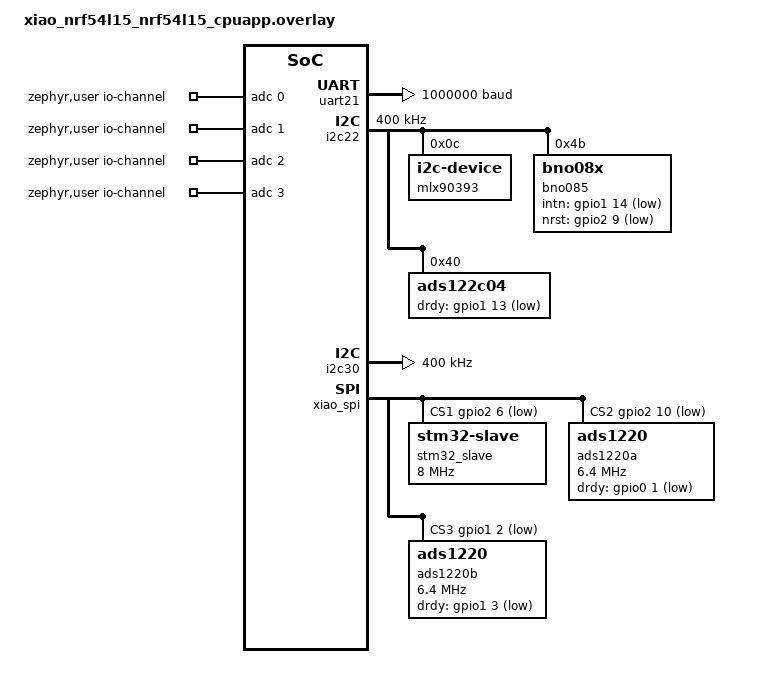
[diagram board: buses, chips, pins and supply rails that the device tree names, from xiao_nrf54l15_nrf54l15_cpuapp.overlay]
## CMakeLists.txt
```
#
# Copyright (c) 2018 Nordic Semiconductor
#
# SPDX-License-Identifier: LicenseRef-Nordic-5-Clause
#
cmake_minimum_required(VERSION 3.20.0)

find_package(Zephyr REQUIRED HINTS $ENV{ZEPHYR_BASE})
project(esb_ptx)

FILE(GLOB app_sources src/*.c*)
# NORDIC SDK APP START
target_sources(app PRIVATE ${app_sources})
include_directories(inc)  
# NORDIC SDK APP END
```

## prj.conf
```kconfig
#
# Copyright (c) 2019 Nordic Semiconductor ASA
#
# SPDX-License-Identifier: LicenseRef-Nordic-5-Clause
#

#------ logging AND console ----
CONFIG_LOG=n
CONFIG_LOG_BACKEND_UART=n
CONFIG_LOG_BACKEND_RTT=y

CONFIG_CONSOLE=n
CONFIG_USE_SEGGER_RTT=y
CONFIG_RTT_CONSOLE=y
CONFIG_UART_CONSOLE=n
CONFIG_PRINTK=n 

#------ DEBUG ----
# CONFIG_STACK_SENTINEL=y
# CONFIG_THREAD_STACK_INFO=y
# CONFIG_INIT_STACKS=y
# CONFIG_ASSERT=y

#------ OPTIMIZATIONS -----
CONFIG_DEBUG_OPTIMIZATIONS=y

#------ CPP -----
CONFIG_CPP=y

#------ FPU -----
CONFIG_FPU=y
CONFIG_NEWLIB_LIBC=y

#------ HEAP -----
CONFIG_HEAP_MEM_POOL_SIZE=8192

#------ GPIO -----
CONFIG_GPIO=y

#------ UART -----
CONFIG_SERIAL=y
CONFIG_UART_ASYNC_API=y
CONFIG_UART_NRFX_UARTE_ENHANCED_RX=y
CONFIG_NRF_SYS_EVENT=y

#------SPI -----
CONFIG_SPI=y
CONFIG_SPI_ASYNC=y

#------ sensors ----
CONFIG_ADC=y
CONFIG_I2C=y
CONFIG_SENSOR=y

#------ ESB -----
CONFIG_ESB=y
CONFIG_ESB_MAX_PAYLOAD_LENGTH=252
CONFIG_CLOCK_CONTROL=y
CONFIG_NRFX_DPPI10=y

#------ BLE -----
# CONFIG_BT=y
# CONFIG_BT_PERIPHERAL=y
# CONFIG_BT_DEVICE_NAME="Nordic_UART_Service"
# CONFIG_BT_MAX_CONN=1
# CONFIG_BT_MAX_PAIRED=1
# CONFIG_BT_NUS=y
# CONFIG_BT_BUF_ACL_RX_SIZE=251
# CONFIG_BT_BUF_ACL_TX_SIZE=251
# CONFIG_BT_L2CAP_TX_MTU=247
```

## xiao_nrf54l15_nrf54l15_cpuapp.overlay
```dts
/**
 * =================================================================================
 * PINS                  MY BOARD                      XIAO NRF54L15 SENSE
 * =================================================================================
 * P0.00:                free                          USR_KEY
 * P0.01:                ads1220a/pcap01 drdy          IMU_3V3_EN
 * P0.02:                icm42688 drdy                 IMU_INT
 * P0.03:                                i2c30 SDL
 * P0.04:                                i2c30 SDA
 * =================================================================================
 * P1.00 & P1.01:                        32.768KHZ crystal
 * P1.02:                ads1220b cs                   NFC
 * P1.03:                ads1220b drdy                 NFC
 * P1.04 - P1.07:                        CH0/AIN0 - CH3/AIN3
 * P1.08:                free                          UART20
 * P1.09:                free                          UART20
 * P1.10:                                i2c22 SDA
 * P1.11:                                i2c22 SDL
 * P1.12:                icm42688 spi cs               mic clk
 * P1.13:                ads122c04 inin                mic data
 * P1.14:                bno085 intn                   AIN7_BAT
 * P1.15:                free                          VBAT_EN
 * =================================================================================
 * P2.00:                                 USR_LED
 * P2.01:                                 spi00 sck
 * P2.02:                                 spi00 mosi
 * P2.03:                free                          rf_sw_pwr
 * P2.04:                                 spi00 miso
 * P2.05:                free                          rf_sw_ctl
 * P2.06:                stm32_slave spi cs            free (D15)
 * P2.07:                                 UART21
 * P2.08:                                 UART21
 * P2.09:                bno085 nrst                   free (D13)
 * P2.10:                ads1220a/pcap01 spi cs        free (D13)
 * =================================================================================
 */

/ {
    zephyr,user {
        io-channels = <&adc 0>, <&adc 1>, <&adc 2>, <&adc 3>;
    };
};

&uart20 {
    current-speed = <1000000>;
};

&uart21 {
    current-speed = <1000000>;
};

/* 禁用板载 PDM 麦克风，释放 P1.12 */
&pdm20 {
    status = "disabled";
};
/* 释放 P1.15 */
&vbat_pwr {
    status = "disabled";
};
/* 释放 P0.01 */
&pdm_imu_pwr {
    status = "disabled";
};
/* 释放 P1.02, P1.03 */
&nfct {
    status = "disabled";
};
&uicr {
    nfct-pins-as-gpios;
};
/* 释放 P0.00 */
&usr_btn {
    status = "disabled";
};
/* 释放P1.08, P1.09 */
/ {
    chosen {
        /delete-property/ zephyr,console;
        /delete-property/ zephyr,shell-uart;
        /delete-property/ nordic,rpc-uart;
    };
};
&uart20 {
    status = "disabled";
};

&i2c22 {
    status = "okay";
    clock-frequency = <I2C_BITRATE_FAST>;
    mlx90393: mlx90393@c {
        compatible = "i2c-device";
        reg = <0x0c>;
    };
    bno085: bno085@4b {
        compatible = "bno08x";
        reg = <0x4b>;
        intn-gpios = <&gpio1 14 (GPIO_ACTIVE_LOW)>;
        nrst-gpios = <&gpio2 9 (GPIO_ACTIVE_LOW | GPIO_PULL_UP)>;
    };
    ads122c04: ads122c04@40 {
        compatible = "ads122c04";
        reg = <0x40>;
        drdy-gpios = <&gpio1 13 (GPIO_ACTIVE_LOW | GPIO_PULL_UP)>;
    };
};

&i2c30 {
	status = "okay";
    clock-frequency = <I2C_BITRATE_FAST>;
    lsm6dso: lsm6dso@6a {
        status = "disabled";
    };
};
&i2c30_default {
    group1 {
        psels = <NRF_PSEL(TWIM_SDA, 0, 4)>, <NRF_PSEL(TWIM_SCL, 0, 3)>;
    };
};

&xiao_spi {
	status = "okay";
    compatible = "nordic,nrf-spim";
    cs-gpios = <&gpio1 12 GPIO_ACTIVE_LOW>, <&gpio2 6 GPIO_ACTIVE_LOW>, <&gpio2 10 GPIO_ACTIVE_LOW>, <&gpio1 2 GPIO_ACTIVE_LOW>;
    icm42688: icm42688@0 {
        status = "disabled";
        compatible = "invensense,icm42688";
        reg = <0>;
        spi-max-frequency = <16000000>;
        int-gpios = <&gpio0 2 GPIO_ACTIVE_LOW>;
    };
    stm32_slave: stm32_slave@1 {
        status = "okay";
        compatible = "stm32-slave";
        reg = <1>;
        spi-max-frequency = <8000000>;
    };
    ads1220a: ads1220a@2 {
        status = "okay";
        compatible = "ads1220";
        reg = <2>;
        spi-max-frequency = <6400000>;
        drdy-gpios = <&gpio0 1 GPIO_ACTIVE_LOW>;
    };
    ads1220b: ads1220b@3 {
        status = "okay";
        compatible = "ads1220";
        reg = <3>;
        spi-max-frequency = <6400000>;
        drdy-gpios = <&gpio1 3 GPIO_ACTIVE_LOW>;
    };
};
```

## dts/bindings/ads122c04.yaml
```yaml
description: ADS122C04 Sensor Binding

compatible: "ads122c04"  # 注意这里，要和 overlay 里的一致

include: i2c-device.yaml  # 继承通用 I2C 属性

properties:
  drdy-gpios:
    type: phandle-array
    required: true
    description: Data ready pin
```

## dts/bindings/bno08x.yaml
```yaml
description: BNO08x Sensor Binding

compatible: "bno08x"  # 注意这里，要和 overlay 里的一致

include: i2c-device.yaml  # 继承通用 I2C 属性

properties:
  intn-gpios:
    type: phandle-array
    required: true
    description: Interrupt pin

  nrst-gpios:
    type: phandle-array
    required: false
    description: Reset pin
```

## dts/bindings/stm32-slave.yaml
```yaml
# Copyright (c) 2020 Nordic Semiconductor ASA
# SPDX-License-Identifier: Apache-2.0

description: STM32H7 SPI Receiver for Exoskeleton

compatible: "stm32-slave"

include: spi-device.yaml
```

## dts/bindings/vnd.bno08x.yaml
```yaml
description: BNO08x Sensor Binding

compatible: "vnd,bno08x"  # 注意这里，要和 overlay 里的一致

include: i2c-device.yaml  # 继承通用 I2C 属性

properties:
  irq-gpios:
    type: phandle-array
    required: true
    description: Interrupt pin

  reset-gpios:
    type: phandle-array
    required: false
    description: Reset pin
```

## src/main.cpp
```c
/*
 * Copyright (c) 2018 Nordic Semiconductor ASA
 *
 * SPDX-License-Identifier: LicenseRef-Nordic-5-Clause
 */

#include "main.h"
#include "bsp_adc.h"
#include "bsp_esb.h"
#include "bsp_ble.h"
#include "vofa.hpp"
#include "bsp_led.h"
#include "bsp_mlx90393.hpp"
#include "bsp_ads1220.hpp"
#include "SparkFun_BNO08x_Library.hpp"
#include "SparkFun_ADS122C04_Library.hpp" 
#include "app_uart.h"
#include <zephyr/logging/log.h>

LOG_MODULE_REGISTER(main, LOG_LEVEL_INF);

struct foot_sensor_packet_t foot_sensor_data =
{
    .mV_heel = 0,
    .mV_toe = 0,
    .force = 0,
    .quatI = 0,
    .quatJ = 0,
    .quatK = 0,
    .quatReal = 0,
};  /** for LEFT_FOOT_NODE and RIGHT_FOOT_NODE */

struct exo_sensor_packet_t exo_sensor_data =
{
    .left_foot = {
        .mV_heel = 0,
        .mV_toe = 0,
        .force = 0,
        .quatI = 0,
        .quatJ = 0,
        .quatK = 0,
        .quatReal = 0,
    },
    .right_foot = {
        .mV_heel = 0,
        .mV_toe = 0,
        .force = 0,
        .quatI = 0,
        .quatJ = 0,
        .quatK = 0,
        .quatReal = 0,
    },
};  /** for STM32H7_NODE */

#if (THIS_NODE_ID == LEFT_FOOT_NODE_ID) || (THIS_NODE_ID == RIGHT_FOOT_NODE_ID)
/** mlx90393 */
const struct i2c_dt_spec mlx90393_i2c = I2C_DT_SPEC_GET(DT_NODELABEL(mlx90393));
Mlx90393 mlx90393;

/** bno085 */
const struct i2c_dt_spec bno085_i2c = I2C_DT_SPEC_GET(DT_NODELABEL(bno085));
const struct gpio_dt_spec bno085_intn = GPIO_DT_SPEC_GET(DT_NODELABEL(bno085), intn_gpios);
const struct gpio_dt_spec bno085_nrst = GPIO_DT_SPEC_GET(DT_NODELABEL(bno085), nrst_gpios);
BNO08x bno085;

/** ads122c04 */
const struct i2c_dt_spec ads122c04_i2c = I2C_DT_SPEC_GET(DT_NODELABEL(ads122c04));
const struct gpio_dt_spec ads122c04_drdy = GPIO_DT_SPEC_GET(DT_NODELABEL(ads122c04), drdy_gpios);
SFE_ADS122C04 ads122c04;

#endif

#if (THIS_NODE_ID == STM32H7_NODE_ID)

static const struct spi_dt_spec stm32_slave_spec = SPI_DT_SPEC_GET(
    DT_NODELABEL(stm32_slave),  
    SPI_WORD_SET(8) | SPI_TRANSFER_MSB, 
    0
);

exo_sensor_packet_t exo_sensor_data_snapshot;
struct spi_buf tx_spi_buf = {.buf = &exo_sensor_data_snapshot, .len = sizeof(exo_sensor_packet_t)};
struct spi_buf_set tx_set = {.buffers = &tx_spi_buf, .count = 1};

int32_t left_uV_0_1 = 0;
int32_t left_uV_2_3 = 0;
int32_t right_uV_0_1 = 0;
int32_t right_uV_2_3 = 0;

#endif

/** Timer  */
static K_SEM_DEFINE(k_timer_sem, 0, 1);
static struct k_timer k_timer;
static void k_timer_expiry(struct k_timer *timer)
{
    ARG_UNUSED(timer);
    k_sem_give(&k_timer_sem);
}

/** app NRF54L15*/
int main(void)
{
	int err = 0;

    bsp_led_init();

#if (THIS_NODE_ID == BRIDGE_NODE_ID) || (THIS_NODE_ID == STM32H7_NODE_ID)
    err = app_uart_init();
    if (err)
    {
        LOG_ERR("app_uart_init() failed, err %d", err);
        return 0;
    }
#endif

#if (THIS_NODE_ID == BRIDGE_NODE_ID)
    err = bsp_ble_init();
    if (err)
    {
        LOG_ERR("bsp_ble_init() failed, err %d", err);
        return 0;
    }
#endif

#if (THIS_NODE_ID == LEFT_FOOT_NODE_ID) || (THIS_NODE_ID == RIGHT_FOOT_NODE_ID) || (THIS_NODE_ID == STM32H7_NODE_ID)
    err = clocks_start();
    if (err)
    {
        LOG_ERR("clocks_start() failed, err %d", err);
        return 0;
    }
    err = esb_initialize();
    if (err)
    {
        LOG_ERR("esb_initialize() failed, err %d", err);
        return 0;
    }
#endif

#if THIS_NODE_ID == STM32H7_NODE_ID
    err = esb_start_rx();
    if (err)
    {
        LOG_ERR("esb_start_rx() failed, err %d", err);
        return 0;
    }
#endif

#if (THIS_NODE_ID == LEFT_FOOT_NODE_ID) || (THIS_NODE_ID == RIGHT_FOOT_NODE_ID)
    // if (!mlx90393.begin(&mlx90393_i2c))
    // {
    //     LOG_ERR("mlx90393 begin failed!");
    //     return 0;
    // }

    bsp_adc_init();

#endif

	/* Initialize and start the ADC timer */
	k_timer_init(&k_timer, k_timer_expiry, NULL);
	k_timer_start(&k_timer, K_USEC(SAMPLE_PERIOD_US), K_USEC(SAMPLE_PERIOD_US));  //5ms定时

    while (1)
    {
        k_sem_take(&k_timer_sem, K_FOREVER);

#if (THIS_NODE_ID == LEFT_FOOT_NODE_ID) || (THIS_NODE_ID == RIGHT_FOOT_NODE_ID)
        // mlx90393.readMeasurement(&x, &y, &z);

        bsp_adc_read_channels();  /* 166 us */
        LOG_INF("mV_heel (mV): %d, mV_toe (mV): %d", foot_sensor_data.mV_heel, foot_sensor_data.mV_toe);

        tx_payload.data[0] = THIS_NODE_ID;

        uint32_t key = irq_lock();
        memcpy(tx_payload.data + 1, &foot_sensor_data, sizeof(foot_sensor_data));
        irq_unlock(key);

        tx_payload.length = 1 + sizeof(foot_sensor_data);
        tx_payload.noack = false;
        if (ready)
        {
            ready = false;

            esb_flush_tx();
            err = esb_write_payload(&tx_payload);
            if (err)
            {
                LOG_ERR("Payload write failed, err %d", err);
            }
        }
        else
        {
            LOG_ERR("Payload not ready");
        }

#elif (THIS_NODE_ID == STM32H7_NODE_ID)
        // app_uart_tx(reinterpret_cast<const uint8_t*>(&exo_sensor_data), sizeof(exo_sensor_data));
        /** 或者 */
        // spi_write_dt(&stm32_slave_spec, &tx_set);  //已在force_meas_thread中发送数据了，这里就不重复发送了
#endif

    } // while (1)

    return 0;
}

#if (THIS_NODE_ID == LEFT_FOOT_NODE_ID) || (THIS_NODE_ID == RIGHT_FOOT_NODE_ID)

#define BNO_THREAD_STACKSIZE 2048
#define BNO_THREAD_PRIORITY  5
#define ADS_THREAD_STACKSIZE 1024
#define ADS_THREAD_PRIORITY  6

#define BNO_REPORT_INTERVAL_MS 5

void bno085_thread(void *p1, void *p2, void *p3)
{
    LOG_INF("Initializing BNO085...");
    if (!bno085.begin(&bno085_i2c, &bno085_intn, &bno085_nrst))
    {
        LOG_ERR("bno085 begin failed!");
        return;
    }
    if (!bno085.enableRotationVector(BNO_REPORT_INTERVAL_MS))
    {
        LOG_ERR("bno085 rotation vector enable failed!");
        // return;
    }
    while (1)
    {
        if (bno085.wasReset())
        {
            LOG_INF("bno085 was reset"); 
            if (!bno085.enableRotationVector(BNO_REPORT_INTERVAL_MS))
            {
                LOG_ERR("bno085 rotation vector enable failed!");
            }
        }
        if (bno085.getSensorEvent())
        {
            if (bno085.getSensorEventID() == SENSOR_REPORTID_ROTATION_VECTOR)
            {
                foot_sensor_data.quatI = bno085.getQuatI();
                foot_sensor_data.quatJ = bno085.getQuatJ();
                foot_sensor_data.quatK = bno085.getQuatK();
                foot_sensor_data.quatReal = bno085.getQuatReal();
                // float quatRadianAccuracy = bno085.getQuatRadianAccuracy();
                LOG_INF("quatI: %f, quatJ: %f, quatK: %f, quatReal: %f", foot_sensor_data.quatI, foot_sensor_data.quatJ, foot_sensor_data.quatK, foot_sensor_data.quatReal);
            }
        }
    }
}
K_THREAD_DEFINE(bno_thread_id, BNO_THREAD_STACKSIZE, bno085_thread, NULL, NULL, NULL, BNO_THREAD_PRIORITY, 0, 0);

void ads122c04_thread(void *p1, void *p2, void *p3)
{
    LOG_INF("Initializing ADS122C04...");
    if (!ads122c04.begin(&ads122c04_i2c, &ads122c04_drdy))
    {
        LOG_ERR("ads122c04 begin failed!");
        return;
    }
    if (!ads122c04.configureADCmode(ADS122C04_BRIDGE_MODE, ADS122C04_DATA_RATE_175SPS))
    {
        LOG_ERR("ads122c04 configureADCmode failed!");
        return;
    }
    ads122c04.setConversionMode(ADS122C04_CONVERSION_MODE_CONTINUOUS);
    ads122c04.start();

    LOG_INF("ads122c04 Started in Continuous Mode.");

    while (1)
    {
        foot_sensor_data.force = ads122c04.readBridgeMilliVolts();
        LOG_INF("Bridge volt (uV): %f", foot_sensor_data.force * 1000.0f);
    }
}
K_THREAD_DEFINE(ads_thread_id, ADS_THREAD_STACKSIZE, ads122c04_thread, NULL, NULL, NULL, ADS_THREAD_PRIORITY, 0, 0);

#endif

#if (THIS_NODE_ID == STM32H7_NODE_ID)

#define FORCE_MEAS_THREAD_STACKSIZE 1024
#define FORCE_MEAS_THREAD_PRIORITY  0

static const struct spi_dt_spec ads1220a_spec = SPI_DT_SPEC_GET(
    DT_NODELABEL(ads1220a), 
    SPI_OP_MODE_MASTER | SPI_WORD_SET(8) | SPI_LINES_SINGLE | SPI_MODE_CPHA,
    0
);
const struct gpio_dt_spec ads1220a_drdy_spec = GPIO_DT_SPEC_GET(DT_NODELABEL(ads1220a), drdy_gpios);
ADS1220 ads1220a;

static const struct spi_dt_spec ads1220b_spec = SPI_DT_SPEC_GET(
    DT_NODELABEL(ads1220b), 
    SPI_OP_MODE_MASTER | SPI_WORD_SET(8) | SPI_LINES_SINGLE | SPI_MODE_CPHA,
    0
);
const struct gpio_dt_spec ads1220b_drdy_spec = GPIO_DT_SPEC_GET(DT_NODELABEL(ads1220b), drdy_gpios);
ADS1220 ads1220b;


void force_meas_thread(void *p1, void *p2, void *p3)
{
    bool is_ok_a = ads1220a.begin(&ads1220a_spec, &ads1220a_drdy_spec);
    bool is_ok_b = ads1220b.begin(&ads1220b_spec, &ads1220b_drdy_spec);
    bool current_is_0_1 = true;
    if (is_ok_a && is_ok_b)
    {
        ads1220a.disableDrdyInterrupt();
        ads1220a.setCompareChannels(ADS1220_MUX_0_1);
        ads1220b.setCompareChannels(ADS1220_MUX_0_1);
        k_sem_reset(&ads1220b.data_ready_sem_);
        ads1220a.start();
        ads1220b.start();
        current_is_0_1 = true;
    }
    else
    {
        LOG_ERR("ads1220 begin failed: is_ok_a = %d, is_ok_b = %d", is_ok_a, is_ok_b);
        return;
    }

    int32_t a_raw_data = 0;
    int32_t b_raw_data = 0;
    while (1)
    {
        k_sem_take(&ads1220b.data_ready_sem_, K_FOREVER);

        b_raw_data = ads1220b.getRawData();
        a_raw_data = ads1220a.getRawData();
        if (current_is_0_1)
        {
            left_uV_0_1 = a_raw_data;
            right_uV_0_1 = b_raw_data;
            ads1220a.setCompareChannels(ADS1220_MUX_2_3);
            ads1220b.setCompareChannels(ADS1220_MUX_2_3);
        }
        else
        {
            left_uV_2_3 = a_raw_data;
            right_uV_2_3 = b_raw_data;
            ads1220a.setCompareChannels(ADS1220_MUX_0_1);
            ads1220b.setCompareChannels(ADS1220_MUX_0_1);
            LOG_ERR("left_uV_0_1: %d, left_uV_2_3: %d, right_uV_0_1: %d, right_uV_2_3: %d", left_uV_0_1, left_uV_2_3, right_uV_0_1, right_uV_2_3);
        }

        ads1220a.start();
        ads1220b.start();
        k_sem_reset(&ads1220b.data_ready_sem_);

        if (!current_is_0_1)
        {
            uint32_t key = irq_lock();
            memcpy(&exo_sensor_data_snapshot, &exo_sensor_data, sizeof(exo_sensor_packet_t));
            irq_unlock(key);

            spi_write_dt(&stm32_slave_spec, &tx_set);
        }
        current_is_0_1 = !current_is_0_1;
    }
}

K_THREAD_DEFINE(force_meas_thread_id, FORCE_MEAS_THREAD_STACKSIZE, force_meas_thread, NULL, NULL, NULL, FORCE_MEAS_THREAD_PRIORITY, 0, 0);

#endif
```

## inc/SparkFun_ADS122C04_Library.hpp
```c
/*
  This is a library written for the TI ADS122C04
  24-Bit 4-Channel 2-kSPS Delta-Sigma ADC With I2C Interface

  It allows you to measure temperature very accurately using a
  Platinum Resistance Thermometer

  SparkFun sells these at its website: www.sparkfun.com
  Do you like this library? Help support SparkFun. Buy a board!

  Written by: Paul Clark (PaulZC)
  Date: May 4th 2020

  Based on the TI datasheet:
  https://www.ti.com/product/ADS122C04
  https://www.ti.com/lit/ds/symlink/ads122c04.pdf
  Using the example code from the "High Precision Temperature Measurement
  for Heat and Cold Meters Reference Design" (TIDA-01526) for reference:
  http://www.ti.com/tool/TIDA-01526
  http://www.ti.com/lit/zip/tidcee5

  The MIT License (MIT)
  Copyright (c) 2020 SparkFun Electronics
  Permission is hereby granted, free of charge, to any person obtaining a copy of this software and
  associated documentation files (the "Software"), to deal in the Software without restriction,
  including without limitation the rights to use, copy, modify, merge, publish, distribute, sublicense,
  and/or sell copies of the Software, and to permit persons to whom the Software is furnished to
  do so, subject to the following conditions:

  The above copyright notice and this permission notice shall be included in all copies or substantial
  portions of the Software.

  THE SOFTWARE IS PROVIDED "AS IS", WITHOUT WARRANTY OF ANY KIND, EXPRESS OR IMPLIED, INCLUDING BUT
  NOT LIMITED TO THE WARRANTIES OF MERCHANTABILITY, FITNESS FOR A PARTICULAR PURPOSE AND NONINFRINGEMENT.
  IN NO EVENT SHALL THE AUTHORS OR COPYRIGHT HOLDERS BE LIABLE FOR ANY CLAIM, DAMAGES OR OTHER LIABILITY,
  WHETHER IN AN ACTION OF CONTRACT, TORT OR OTHERWISE, ARISING FROM, OUT OF OR IN CONNECTION WITH THE
  SOFTWARE OR THE USE OR OTHER DEALINGS IN THE SOFTWARE.
*/

#ifndef SPARKFUN_ADS122C04_LIBRARY_HPP
#define SPARKFUN_ADS122C04_LIBRARY_HPP

#include <zephyr/kernel.h>
#include <zephyr/drivers/i2c.h>
#include <zephyr/drivers/gpio.h>

// Single Conversion Timeout (millis)
// The maximum time we will wait for DRDY to go valid for a single conversion
#define ADS122C04_CONVERSION_TIMEOUT 75

// Define 2/3/4-Wire, Temperature and Raw modes
#define ADS122C04_4WIRE_MODE 0x0
#define ADS122C04_3WIRE_MODE 0x1
#define ADS122C04_2WIRE_MODE 0x2
#define ADS122C04_TEMPERATURE_MODE 0x3
#define ADS122C04_RAW_MODE 0x4
#define ADS122C04_4WIRE_HI_TEMP 0x5
#define ADS122C04_3WIRE_HI_TEMP 0x6
#define ADS122C04_2WIRE_HI_TEMP 0x7
#define ADS122C04_BRIDGE_MODE 0x8   // added by zzz

// ADS122C04 Table 16 in Datasheet
#define ADS122C04_RESET_CMD 0x06     // 0000 011x      Reset
#define ADS122C04_START_CMD 0x08     // 0000 100x      Start/Sync
#define ADS122C04_POWERDOWN_CMD 0x02 // 0000 001x      PowerDown
#define ADS122C04_RDATA_CMD 0x10     // 0001 xxxx      RDATA
#define ADS122C04_RREG_CMD 0x20      // 0010 rrxx      Read REG rr= register address 00 to 11
#define ADS122C04_WREG_CMD 0x40      // 0100 rrxx      Write REG rr= register address 00 to 11

#define ADS122C04_WRITE_CMD(reg) (ADS122C04_WREG_CMD | (reg << 2)) // Shift is 2-bit in ADS122C04
#define ADS122C04_READ_CMD(reg) (ADS122C04_RREG_CMD | (reg << 2))  // Shift is 2-bit in ADS122C04

// ADS122C04 Table 16 in Datasheet
#define ADS122C04_CONFIG_0_REG 0 // Configuration Register 0
#define ADS122C04_CONFIG_1_REG 1 // Configuration Register 1
#define ADS122C04_CONFIG_2_REG 2 // Configuration Register 2
#define ADS122C04_CONFIG_3_REG 3 // Configuration Register 3

// Unshifted register definitions
// The bit field register definitions will do the bit shifting

// Configuration Register 0
// ADS122C04 Table 19 in Datasheet

// Input Multiplexer Configuration
#define ADS122C04_MUX_AIN0_AIN1 0x0
#define ADS122C04_MUX_AIN0_AIN2 0x1
#define ADS122C04_MUX_AIN0_AIN3 0x2
#define ADS122C04_MUX_AIN1_AIN0 0x3
#define ADS122C04_MUX_AIN1_AIN2 0x4
#define ADS122C04_MUX_AIN1_AIN3 0x5
#define ADS122C04_MUX_AIN2_AIN3 0x6
#define ADS122C04_MUX_AIN3_AIN2 0x7
#define ADS122C04_MUX_AIN0_AVSS 0x8
#define ADS122C04_MUX_AIN1_AVSS 0x9
#define ADS122C04_MUX_AIN2_AVSS 0xa
#define ADS122C04_MUX_AIN3_AVSS 0xb
#define ADS122C04_MUX_REFPmREFN 0xc
#define ADS122C04_MUX_AVDDmAVSS 0xd
#define ADS122C04_MUX_SHORTED 0xe

// Gain Configuration
#define ADS122C04_GAIN_1 0x0
#define ADS122C04_GAIN_2 0x1
#define ADS122C04_GAIN_4 0x2
#define ADS122C04_GAIN_8 0x3
#define ADS122C04_GAIN_16 0x4
#define ADS122C04_GAIN_32 0x5
#define ADS122C04_GAIN_64 0x6
#define ADS122C04_GAIN_128 0x7

// PGA Bypass (PGA is disabled when the PGA_BYPASS bit is set)
#define ADS122C04_PGA_DISABLED 0x1
#define ADS122C04_PGA_ENABLED 0x0

// Configuration Register 1
// ADS122C04 Table 19 in Datasheet

// Data Rate
// Turbo mode = Normal mode * 2 (Samples per Second)
// Normal mode
#define ADS122C04_DATA_RATE_20SPS 0x0
#define ADS122C04_DATA_RATE_45SPS 0x1
#define ADS122C04_DATA_RATE_90SPS 0x2
#define ADS122C04_DATA_RATE_175SPS 0x3
#define ADS122C04_DATA_RATE_330SPS 0x4
#define ADS122C04_DATA_RATE_600SPS 0x5
#define ADS122C04_DATA_RATE_1000SPS 0x6

// Operating Mode
#define ADS122C04_OP_MODE_NORMAL 0x0
#define ADS122C04_OP_MODE_TURBO 0x1

// Conversion Mode
#define ADS122C04_CONVERSION_MODE_SINGLE_SHOT 0x0
#define ADS122C04_CONVERSION_MODE_CONTINUOUS 0x1

// Voltage Reference Selection
#define ADS122C04_VREF_INTERNAL 0x0     // 2.048V internal
#define ADS122C04_VREF_EXT_REF_PINS 0x1 // REFp and REFn external
#define ADS122C04_VREF_AVDD 0x2         // Analog Supply AVDD and AVSS

// Temperature Sensor Mode
#define ADS122C04_TEMP_SENSOR_OFF 0x0
#define ADS122C04_TEMP_SENSOR_ON 0x1

// Configuration Register 2
// ADS122C04 Table 22 in Datasheet

// Conversion Result Ready Flag (READ ONLY)

// Data Counter Enable
#define ADS122C04_DCNT_DISABLE 0x0
#define ADS122C04_DCNT_ENABLE 0x1

// Data Integrity Check Enable
#define ADS122C04_CRC_DISABLED 0x0
#define ADS122C04_CRC_INVERTED 0x1
#define ADS122C04_CRC_CRC16_ENABLED 0x2

// Burn-Out Current Source
#define ADS122C04_BURN_OUT_CURRENT_OFF 0x0
#define ADS122C04_BURN_OUT_CURRENT_ON 0x1

// IDAC Current Setting
#define ADS122C04_IDAC_CURRENT_OFF 0x0
#define ADS122C04_IDAC_CURRENT_10_UA 0x1
#define ADS122C04_IDAC_CURRENT_50_UA 0x2
#define ADS122C04_IDAC_CURRENT_100_UA 0x3
#define ADS122C04_IDAC_CURRENT_250_UA 0x4
#define ADS122C04_IDAC_CURRENT_500_UA 0x5
#define ADS122C04_IDAC_CURRENT_1000_UA 0x6
#define ADS122C04_IDAC_CURRENT_1500_UA 0x7

// Configuration Register 3
// ADS122C04 Table 23 in Datasheet

// IDAC1 Routing Configuration
#define ADS122C04_IDAC1_DISABLED 0x0
#define ADS122C04_IDAC1_AIN0 0x1
#define ADS122C04_IDAC1_AIN1 0x2
#define ADS122C04_IDAC1_AIN2 0x3
#define ADS122C04_IDAC1_AIN3 0x4
#define ADS122C04_IDAC1_REFP 0x5
#define ADS122C04_IDAC1_REFN 0x6

// IDAC2 Routing Configuration
#define ADS122C04_IDAC2_DISABLED 0x0
#define ADS122C04_IDAC2_AIN0 0x1
#define ADS122C04_IDAC2_AIN1 0x2
#define ADS122C04_IDAC2_AIN2 0x3
#define ADS122C04_IDAC2_AIN3 0x4
#define ADS122C04_IDAC2_REFP 0x5
#define ADS122C04_IDAC2_REFN 0x6

// Bit field type register configuration
// Configuration Map register ADS122C04
//--------------Address 0x00---------------------------------
struct CONFIG_REG_0
{
    uint8_t PGA_BYPASS : 1; // 0
    uint8_t GAIN : 3;       // 1-3
    uint8_t MUX : 4;        // 4-7
};
union CONFIG_REG_0_U
{
    uint8_t all;
    struct CONFIG_REG_0 bit;
};

//--------------Address 0x01---------------------------------
struct CONFIG_REG_1
{
    uint8_t TS : 1;    // 0
    uint8_t VREF : 2;  // 1-2
    uint8_t CMBIT : 1; // 3
    uint8_t MODE : 1;  // 4
    uint8_t DR : 3;    // 5-7
};
union CONFIG_REG_1_U
{
    uint8_t all;
    struct CONFIG_REG_1 bit;
};

//--------------Address 0x02---------------------------------
struct CONFIG_REG_2
{
    uint8_t IDAC : 3;    // 0-2
    uint8_t BCS : 1;     // 3
    uint8_t CRCbits : 2; // 4-5
    uint8_t DCNT : 1;    // 6
    uint8_t DRDY : 1;    // 7
};
union CONFIG_REG_2_U
{
    uint8_t all;
    struct CONFIG_REG_2 bit;
};

//--------------Address 0x03---------------------------------
struct CONFIG_REG_3
{
    uint8_t RESERVED : 2; // 0-1
    uint8_t I2MUX : 3;    // 2-4
    uint8_t I1MUX : 3;    // 5-7
};
union CONFIG_REG_3_U
{
    uint8_t all;
    struct CONFIG_REG_3 bit;
};

// All four registers
typedef struct ADS122C04Reg
{
    union CONFIG_REG_0_U reg0;
    union CONFIG_REG_1_U reg1;
    union CONFIG_REG_2_U reg2;
    union CONFIG_REG_3_U reg3;
} ADS122C04Reg_t;

// Union for the 14-bit internal Temperature
// To simplify converting from uint16_t to int16_t
// without using a cast
union internal_temperature_union
{
    int16_t INT16;
    uint16_t UINT16;
};

// Union for the 24-bit raw voltage
// To simplify converting from uint32_t to int32_t
// without using a cast
union raw_voltage_union
{
    int32_t INT32;
    uint32_t UINT32;
};

// struct to hold the initialisation parameters
typedef struct
{
    uint8_t inputMux;
    uint8_t gainLevel;
    uint8_t pgaBypass;
    uint8_t dataRate;
    uint8_t opMode;
    uint8_t convMode;
    uint8_t selectVref;
    uint8_t tempSensorEn;
    uint8_t dataCounterEn;
    uint8_t dataCRCen;
    uint8_t burnOutEn;
    uint8_t idacCurrent;
    uint8_t routeIDAC1;
    uint8_t routeIDAC2;
} ADS122C04_initParam;

class SFE_ADS122C04
{
public:
    SFE_ADS122C04(void);

    // By default use the default I2C address, and use Wire port
    bool begin(const struct i2c_dt_spec *i2c_dev, const struct gpio_dt_spec *drdy_dev = NULL); // Returns true if module is detected

    // Returns true if device answers on _deviceAddress
    bool isConnected(void);

    float readPT100Centigrade(void); // Read the PT100 temperature in Centigrade
    float readPT100Fahrenheit(void); // Read the PT100 temperature in Fahrenheit
    float readBridgeMilliVolts(void);     // Read the bridge voltage in Volts
    
    // Read the raw signed 24-bit ADC value as int32_t
    // This uses the internal 2.048V reference with the gain set to 1
    // The LSB is 2.048 / 2^23 = 0.24414 uV (0.24414 microvolts)
    int32_t readRawVoltage(uint8_t rate = ADS122C04_DATA_RATE_20SPS);

    // Read the raw signed 24-bit ADC value as uint32_t
    // The ADC data is returned in the least-significant 24-bits
    uint32_t readADC(void);

    // Read the internal temperature (C)
    float readInternalTemperature(uint8_t rate = ADS122C04_DATA_RATE_20SPS);

    bool reset(void);     // Reset the ADS122C04
    bool start(void);     // Start a conversion
    bool powerdown(void); // Put the chip into low power mode

    // Default to using 'safe' settings (disable the IDAC current sources)
    bool configureADCmode(uint8_t wire_mode = ADS122C04_RAW_MODE, uint8_t rate = ADS122C04_DATA_RATE_20SPS); // Configure the chip for the chosen mode

    // Default to using 'safe' settings (disable the IDAC current sources)
    bool setInputMultiplexer(uint8_t mux_config = ADS122C04_MUX_AIN1_AIN0);       // Configure the input multiplexer
    bool setGain(uint8_t gain_config = ADS122C04_GAIN_1);                         // Configure the gain
    bool enablePGA(uint8_t enable = ADS122C04_PGA_DISABLED);                      // Enable/disable the Programmable Gain Amplifier
    bool setDataRate(uint8_t rate = ADS122C04_DATA_RATE_20SPS);                   // Set the data rate (sample speed)
    bool setOperatingMode(uint8_t mode = ADS122C04_OP_MODE_NORMAL);               // Configure the operating mode (normal / turbo)
    bool setConversionMode(uint8_t mode = ADS122C04_CONVERSION_MODE_SINGLE_SHOT); // Configure the conversion mode (single-shot / continuous)
    bool setVoltageReference(uint8_t ref = ADS122C04_VREF_INTERNAL);              // Configure the voltage reference
    bool enableInternalTempSensor(uint8_t enable = ADS122C04_TEMP_SENSOR_OFF);    // Enable / disable the internal temperature sensor
    bool setDataCounter(uint8_t enable = ADS122C04_DCNT_DISABLE);                 // Enable / disable the conversion data counter
    bool setDataIntegrityCheck(uint8_t setting = ADS122C04_CRC_DISABLED);         // Configure the data integrity check
    bool setBurnOutCurrent(uint8_t enable = ADS122C04_BURN_OUT_CURRENT_OFF);      // Enable / disable the 10uA burn-out current source
    bool setIDACcurrent(uint8_t current = ADS122C04_IDAC_CURRENT_OFF);            // Configure the internal programmable current sources
    bool setIDAC1mux(uint8_t setting = ADS122C04_IDAC1_DISABLED);                 // Configure the IDAC1 routing
    bool setIDAC2mux(uint8_t setting = ADS122C04_IDAC2_DISABLED);                 // Configure the IDAC2 routing

    bool checkDataReady(void); // Check the status of the DRDY bit in Config Register 2

    uint8_t getInputMultiplexer(void);         // Get the input multiplexer configuration
    uint8_t getGain(void);                     // Get the gain setting
    uint8_t getPGAstatus(void);                // Get the Programmable Gain Amplifier status
    uint8_t getDataRate(void);                 // Get the data rate (sample speed)
    uint8_t getOperatingMode(void);            // Get the operating mode (normal / turbo)
    uint8_t getConversionMode(void);           // Get the conversion mode (single-shot / continuous)
    uint8_t getVoltageReference(void);         // Get the voltage reference configuration
    uint8_t getInternalTempSensorStatus(void); // Get the internal temperature sensor status
    uint8_t getDataCounter(void);              // Get the data counter status
    uint8_t getDataIntegrityCheck(void);       // Get the data integrity check configuration
    uint8_t getBurnOutCurrent(void);           // Get the burn-out current status
    uint8_t getIDACcurrent(void);              // Get the IDAC setting
    uint8_t getIDAC1mux(void);                 // Get the IDAC1 mux configuration
    uint8_t getIDAC2mux(void);                 // Get the IDAC2 mux configuration

    // Requested in #5
    uint8_t getWireMode(void) { return (_wireMode); }

    struct gpio_callback drdy_cb_data;
    struct k_sem data_ready_sem;
    static void drdy_isr_handler(const struct device *dev, struct gpio_callback *cb, uint32_t pins);

private:
    // Variables
    const struct i2c_dt_spec *_i2c_dev; // Zephyr I2C Device Tree Spec
    const struct gpio_dt_spec *_drdy_gpio;

    // Keep a copy of the wire mode so we can restore it after reading the internal temperature
    uint8_t _wireMode = ADS122C04_RAW_MODE; // Default to using 'safe' settings (disable the IDAC current sources)

    // Resistance of the reference resistor
    const float PT100_REFERENCE_RESISTOR = 1620.0;

    // Amplifier gain setting
    // ** MAKE SURE THE CONFIG REGISTER 0 GAIN IS THE SAME AS THIS **
    const float PT100_AMPLIFIER_GAIN = 8.0;
    const float PT100_AMP_GAIN_HI_TEMP = 4.0;

    // Internal temperature sensor resolution
    // One 14-bit LSB equals 0.03125°C
    const float TEMPERATURE_SENSOR_RESOLUTION = 0.03125;

    ADS122C04Reg_t ADS122C04_Reg; // Global to hold copies of all four configuration registers
    
    bool wait_for_data(void);

    bool ADS122C04_init(ADS122C04_initParam *param); // initialise the ADS122C04 with these parameters

    bool ADS122C04_writeReg(uint8_t reg, uint8_t writeValue); // write a value to the selected register
    bool ADS122C04_readReg(uint8_t reg, uint8_t *readValue);  // read a value from the selected register (returned in readValue)

    bool ADS122C04_getConversionData(uint32_t *conversionData);                          // read the raw 24-bit conversion result
    bool ADS122C04_getConversionDataWithCount(uint32_t *conversionData, uint8_t *count); // read the raw conversion result and count (if enabled)

    bool ADS122C04_sendCommand(uint8_t command);                         // write to the selected command register
    bool ADS122C04_sendCommandWithValue(uint8_t command, uint8_t value); // write a value to the selected command register
};
#endif
```

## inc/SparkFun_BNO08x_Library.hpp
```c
/*
  This is a library written for the BNO08x
  SparkFun sells these at its website: www.sparkfun.com
  Do you like this library? Help support SparkFun. Buy a board!
  https://www.sparkfun.com/products/14686

  Originally written by Nathan Seidle @ SparkFun Electronics, December 28th, 2017

  Adjusted by Pete Lewis @ SparkFun Electronics, June 2023 to incorporate the 
  CEVA Sensor Hub Driver, found here:
  https://github.com/ceva-dsp/sh2

  Also, utilizing code from the Adafruit BNO08x Arduino Library by Bryan Siepert 
  for Adafruit Industries. Found here:
  https://github.com/adafruit/Adafruit_BNO08x

  Also, utilizing I2C and SPI read/write functions and code from the Adafruit 
  BusIO library found here:
  https://github.com/adafruit/Adafruit_BusIO

  The BNO08x IMU is a powerful triple axis gyro/accel/magnetometer coupled with an ARM processor
  to maintain and complete all the complex calculations for various VR, inertial, step counting,
  and movement operations.

  This library handles the initialization of the BNO08x and is able to query the sensor
  for different readings.

  https://github.com/sparkfun/SparkFun_BNO08x_Arduino_Library

  Development environment specifics:
  Arduino IDE 2.1.1

  SparkFun code, firmware, and software is released under the MIT License.
  Please see LICENSE.md for further details.

  Some of this library was based off of the Adafruit BNO08x Arduino Library.
  More specifically, the code layers connecting to the HillCrest/Ceva Driver.
  Their original work can be found here:
  https://github.com/adafruit/Adafruit_BNO08x
  Thank you Adafruit and your developers for all your hard work put into your Library!
*/

#ifndef SPARKFUN_BNO08X_LIBRARY_HPP
#define SPARKFUN_BNO08X_LIBRARY_HPP

#include <zephyr/kernel.h>
#include <zephyr/drivers/i2c.h>
#include <zephyr/drivers/gpio.h>

#include "sh2.h"
#include "sh2_SensorValue.h"
#include "sh2_err.h"

//The default I2C address for the BNO08x on the SparkFun breakout is 0x4B. 0x4A is also possible.
#define BNO08x_DEFAULT_ADDRESS 0x4B

#define BNO08x_CONVERSION_TIMEOUT 500
//All the ways we can configure or talk to the BNO08x, figure 34, page 36 reference manual
//These are used for low level communication with the sensor, on channel 2
#define SHTP_REPORT_COMMAND_RESPONSE 0xF1
#define SHTP_REPORT_COMMAND_REQUEST 0xF2
#define SHTP_REPORT_FRS_READ_RESPONSE 0xF3
#define SHTP_REPORT_FRS_READ_REQUEST 0xF4
#define SHTP_REPORT_PRODUCT_ID_RESPONSE 0xF8
#define SHTP_REPORT_PRODUCT_ID_REQUEST 0xF9
#define SHTP_REPORT_BASE_TIMESTAMP 0xFB
#define SHTP_REPORT_SET_FEATURE_COMMAND 0xFD

//All the different sensors and features we can get reports from
//These are used when enabling a given sensor
#define SENSOR_REPORTID_ACCELEROMETER SH2_ACCELEROMETER
#define SENSOR_REPORTID_GYROSCOPE_CALIBRATED SH2_GYROSCOPE_CALIBRATED
#define SENSOR_REPORTID_MAGNETIC_FIELD SH2_MAGNETIC_FIELD_CALIBRATED
#define SENSOR_REPORTID_LINEAR_ACCELERATION SH2_LINEAR_ACCELERATION
#define SENSOR_REPORTID_ROTATION_VECTOR SH2_ROTATION_VECTOR
#define SENSOR_REPORTID_GRAVITY SH2_GRAVITY
#define SENSOR_REPORTID_UNCALIBRATED_GYRO SH2_GYROSCOPE_UNCALIBRATED
#define SENSOR_REPORTID_GAME_ROTATION_VECTOR 0x08
#define SENSOR_REPORTID_GEOMAGNETIC_ROTATION_VECTOR 0x09
#define SENSOR_REPORTID_GYRO_INTEGRATED_ROTATION_VECTOR SH2_GYRO_INTEGRATED_RV
#define SENSOR_REPORTID_TAP_DETECTOR 0x10
#define SENSOR_REPORTID_STEP_COUNTER SH2_STEP_COUNTER
#define SENSOR_REPORTID_STABILITY_CLASSIFIER SH2_STABILITY_CLASSIFIER
#define SENSOR_REPORTID_RAW_ACCELEROMETER 0x14
#define SENSOR_REPORTID_RAW_GYROSCOPE 0x15
#define SENSOR_REPORTID_RAW_MAGNETOMETER 0x16
#define SENSOR_REPORTID_PERSONAL_ACTIVITY_CLASSIFIER SH2_PERSONAL_ACTIVITY_CLASSIFIER
#define SENSOR_REPORTID_AR_VR_STABILIZED_ROTATION_VECTOR 0x28
#define SENSOR_REPORTID_AR_VR_STABILIZED_GAME_ROTATION_VECTOR 0x29

// Reset complete packet (BNO08X Datasheet p.24 Figure 1-27)
#define EXECUTABLE_RESET_COMPLETE 0x1

//Command IDs from section 6.4, page 42
//These are used to calibrate, initialize, set orientation, tare etc the sensor
#define COMMAND_ERRORS 1
#define COMMAND_COUNTER 2
#define COMMAND_TARE 3
#define COMMAND_INITIALIZE 4
#define COMMAND_DCD 6
#define COMMAND_ME_CALIBRATE 7
#define COMMAND_DCD_PERIOD_SAVE 9
#define COMMAND_OSCILLATOR 10
#define COMMAND_CLEAR_DCD 11

#define CALIBRATE_ACCEL 0
#define CALIBRATE_GYRO 1
#define CALIBRATE_MAG 2
#define CALIBRATE_PLANAR_ACCEL 3
#define CALIBRATE_ACCEL_GYRO_MAG 4
#define CALIBRATE_STOP 5

#define TARE_AXIS_ALL 0x07
#define TARE_AXIS_Z   0x04

#define TARE_ROTATION_VECTOR 0
#define TARE_GAME_ROTATION_VECTOR 1
#define TARE_GEOMAGNETIC_ROTATION_VECTOR 2
#define TARE_GYRO_INTEGRATED_ROTATION_VECTOR 3
#define TARE_AR_VR_STABILIZED_ROTATION_VECTOR 4
#define TARE_AR_VR_STABILIZED_GAME_ROTATION_VECTOR 5

class BNO08x
{
public:
    bool begin(const struct i2c_dt_spec *i2c_dev, 
                  const struct gpio_dt_spec *int_pin, 
                  const struct gpio_dt_spec *rst_pin = NULL);
	bool isConnected();

    sh2_ProductIds_t prodIds; ///< The product IDs returned by the sensor
	sh2_SensorValue_t sensorValue;

    void hardwareReset(void);
    bool wasReset(void); //Returns true if the sensor has reported a reset. Reading this will unflag the reset.

	uint8_t getResetReason(); // returns prodIds->resetCause

    bool enableReport(sh2_SensorId_t sensor, uint32_t interval_us = 10000, uint32_t sensorSpecific = 0);
    bool getSensorEvent();
	uint8_t getSensorEventID();

	// void enableDebugging(Stream &debugPort = Serial); //Turn on debug printing. If user doesn't specify then Serial will be used.

	bool softReset();	  //Try to reset the IMU via software
	bool serviceBus(void);	
	uint8_t resetReason(); //Query the IMU for the reason it last reset
	bool modeOn();	  //Use the executable channel to turn the BNO on
	bool modeSleep();	  //Use the executable channel to put the BNO to sleep

	float qToFloat(int16_t fixedPointValue, uint8_t qPoint); //Given a Q value, converts fixed point floating to regular floating point number

	bool enableRotationVector(uint16_t timeBetweenReports = 10);
	bool enableGeomagneticRotationVector(uint16_t timeBetweenReports = 10);
	bool enableGameRotationVector(uint16_t timeBetweenReports = 10);
	bool enableARVRStabilizedRotationVector(uint16_t timeBetweenReports);
	bool enableARVRStabilizedGameRotationVector(uint16_t timeBetweenReports);
	bool enableAccelerometer(uint16_t timeBetweenReports = 10);
	bool enableLinearAccelerometer(uint16_t timeBetweenReports = 10);
	bool enableGravity(uint16_t timeBetweenReports = 10);
	bool enableGyro(uint16_t timeBetweenReports = 10);
	bool enableUncalibratedGyro(uint16_t timeBetweenReports = 10);
	bool enableMagnetometer(uint16_t timeBetweenReports = 10);
	bool enableTapDetector(uint16_t timeBetweenReports);
	bool enableStepCounter(uint16_t timeBetweenReports = 10);
	bool enableStabilityClassifier(uint16_t timeBetweenReports = 10);
	bool enableActivityClassifier(uint16_t timeBetweenReports, uint32_t activitiesToEnable);
	bool enableRawAccelerometer(uint16_t timeBetweenReports = 10);
	bool enableRawGyro(uint16_t timeBetweenReports = 10);
	bool enableRawMagnetometer(uint16_t timeBetweenReports = 10);
	bool enableGyroIntegratedRotationVector(uint16_t timeBetweenReports = 10);

	void getQuat(float &i, float &j, float &k, float &real, float &radAccuracy, uint8_t &accuracy);
	float getQuatI();
	float getQuatJ();
	float getQuatK();
	float getQuatReal();
	float getQuatRadianAccuracy();
	uint8_t getQuatAccuracy();

	float getGameQuatI();
	float getGameQuatJ();
	float getGameQuatK();
	float getGameQuatReal();	

	void getAccel(float &x, float &y, float &z, uint8_t &accuracy);
	float getAccelX();
	float getAccelY();
	float getAccelZ();
	uint8_t getAccelAccuracy();

	void getLinAccel(float &x, float &y, float &z, uint8_t &accuracy);
	float getLinAccelX();
	float getLinAccelY();
	float getLinAccelZ();
	uint8_t getLinAccelAccuracy();

	void getGyro(float &x, float &y, float &z, uint8_t &accuracy);
	float getGyroX();
	float getGyroY();
	float getGyroZ();
	uint8_t getGyroAccuracy();

	void getUncalibratedGyro(float &x, float &y, float &z, float &bx, float &by, float &bz, uint8_t &accuracy);
	float getUncalibratedGyroX();
	float getUncalibratedGyroY();
	float getUncalibratedGyroZ();
	float getUncalibratedGyroBiasX();
	float getUncalibratedGyroBiasY();
	float getUncalibratedGyroBiasZ();
	uint8_t getUncalibratedGyroAccuracy();

	float getGyroIntegratedRVI();
	float getGyroIntegratedRVJ();
	float getGyroIntegratedRVK();
	float getGyroIntegratedRVReal();
	float getGyroIntegratedRVangVelX();
	float getGyroIntegratedRVangVelY();
	float getGyroIntegratedRVangVelZ();

	void getMag(float &x, float &y, float &z, uint8_t &accuracy);
	float getMagX();
	float getMagY();
	float getMagZ();
	uint8_t getMagAccuracy();

	void getGravity(float &x, float &y, float &z, uint8_t &accuracy);
	float getGravityX();
	float getGravityY();
	float getGravityZ();
	uint8_t getGravityAccuracy();

	bool setCalibrationConfig(uint8_t sensors);
	bool saveCalibration();

	bool tareNow(bool zAxis=false, sh2_TareBasis_t basis=SH2_TARE_BASIS_ROTATION_VECTOR);
	bool saveTare();
	bool clearTare();
	
	uint8_t getTapDetector();
	uint64_t getTimeStamp();
	uint16_t getStepCount();
	uint8_t getStabilityClassifier();
	uint8_t getActivityClassifier();
	uint8_t getActivityConfidence(uint8_t activity);

	int16_t getRawAccelX();
	int16_t getRawAccelY();
	int16_t getRawAccelZ();

	int16_t getRawGyroX();
	int16_t getRawGyroY();
	int16_t getRawGyroZ();

	int16_t getRawMagX();
	int16_t getRawMagY();
	int16_t getRawMagZ();

	float getRoll();
	float getPitch();
	float getYaw();

//	void sendCommand(uint8_t command);
//	void sendCalibrateCommand(uint8_t thingToCalibrate);

	//Metadata functions
	// int16_t getQ1(uint16_t recordID);
	// int16_t getQ2(uint16_t recordID);
	// int16_t getQ3(uint16_t recordID);
	// float getResolution(uint16_t recordID);
	// float getRange(uint16_t recordID);
	// uint32_t readFRSword(uint16_t recordID, uint8_t wordNumber);
	// void frsReadRequest(uint16_t recordID, uint16_t readOffset, uint16_t blockSize);
	// bool readFRSdata(uint16_t recordID, uint8_t startLocation, uint8_t wordsToRead);

	//Global Variables
	// uint8_t shtpHeader[4]; //Each packet has a header of 4 bytes
	// uint8_t shtpData[MAX_PACKET_SIZE];
	// uint8_t sequenceNumber[6] = {0, 0, 0, 0, 0, 0}; //There are 6 com channels. Each channel has its own seqnum
	// uint8_t commandSequenceNumber = 0;				//Commands have a seqNum as well. These are inside command packet, the header uses its own seqNum per channel
	// uint32_t metaData[MAX_METADATA_SIZE];			//There is more than 10 words in a metadata record but we'll stop at Q point 3

//	unsigned long _spiPortSpeed; //Optional user defined port speed
//	uint8_t _cs;				 //Pins needed for SPI

private:
    // const struct i2c_dt_spec *_i2c_dev;
    // const struct gpio_dt_spec *_int_dev;
    // const struct gpio_dt_spec *_rst_dev;

	// Stream *_debugPort;			 //The stream to send debug messages to if enabled. Usually Serial.
	bool _printDebug = false; //Flag to print debugging variables

	//These are the raw sensor values (without Q applied) pulled from the user requested Input Report
	uint16_t rawAccelX, rawAccelY, rawAccelZ, accelAccuracy;
	uint16_t rawLinAccelX, rawLinAccelY, rawLinAccelZ, accelLinAccuracy;
	uint16_t rawGyroX, rawGyroY, rawGyroZ, gyroAccuracy;
	uint16_t rawUncalibGyroX, rawUncalibGyroY, rawUncalibGyroZ, rawBiasX, rawBiasY, rawBiasZ, UncalibGyroAccuracy;
	uint16_t rawMagX, rawMagY, rawMagZ, magAccuracy;
	uint16_t rawQuatI, rawQuatJ, rawQuatK, rawQuatReal, rawQuatRadianAccuracy, quatAccuracy;
	uint16_t rawFastGyroX, rawFastGyroY, rawFastGyroZ;
	uint16_t gravityX, gravityY, gravityZ, gravityAccuracy;
	uint8_t tapDetector;
	uint16_t stepCount;
	uint32_t timeStamp;
	uint8_t stabilityClassifier;
	uint8_t activityClassifier;
	uint8_t calibrationStatus;							  //Byte R0 of ME Calibration Response
	uint16_t memsRawAccelX, memsRawAccelY, memsRawAccelZ; //Raw readings from MEMS sensor
	uint16_t memsRawGyroX, memsRawGyroY, memsRawGyroZ;	//Raw readings from MEMS sensor
	uint16_t memsRawMagX, memsRawMagY, memsRawMagZ;		  //Raw readings from MEMS sensor

	//These Q values are defined in the datasheet but can also be obtained by querying the meta data records
	//See the read metadata example for more info
	int16_t rotationVector_Q1 = 14;
	int16_t rotationVectorAccuracy_Q1 = 12; //Heading accuracy estimate in radians. The Q point is 12.
	int16_t accelerometer_Q1 = 8;
	int16_t linear_accelerometer_Q1 = 8;
	int16_t gyro_Q1 = 9;
	int16_t magnetometer_Q1 = 4;
	int16_t angular_velocity_Q1 = 10;
	int16_t gravity_Q1 = 8;

protected:
	virtual bool _init(int32_t sensor_id = 0);
	sh2_Hal_t _HAL; ///< The struct representing the SH2 Hardware Abstraction Layer
};

#endif
```

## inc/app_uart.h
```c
#ifndef __APP_UART_H
#define __APP_UART_H

#include <stddef.h>
#include <stdint.h> 

#ifdef __cplusplus
extern "C" {
#endif

extern const struct device *uart_dev;

typedef void (*packets_cb_t)(uint8_t *byte, size_t len);

/**
 * @brief Initialize the UART module
 * @return 0 on success, negative error code on failure
 */
int app_uart_init(void);

/**
 * @brief Register callback function for received packets
 * @param cb Callback function pointer
 * @return 0 on success, negative error code on failure
 */
int app_uart_rx_cb_register(packets_cb_t cb);

/**
 * @brief Send data via UART
 * @param byte Pointer to data buffer
 * @param len Length of data to send
 * @return 0 on success, negative error code on failure
 */
int app_uart_tx(const uint8_t *byte, size_t len);
int app_uart_tx_malloc(const uint8_t *byte, size_t len);

/**
 * @brief disable the UART and put it to sleep
 * @return 0 on success, negative error code on failure
 */
int app_uart_sleep(void);

/**
 * @brief wake up the UART from sleep
 * @return 0 on success, negative error code on failure
 */
int app_uart_wakeup(void);

/* Convenience helper: print current UART stats to console */
void app_uart_print_stats(void);


#ifdef __cplusplus
}
#endif

#endif //__APP_UART_H
```

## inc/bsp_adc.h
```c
#ifndef BSP_ADC_H
#define BSP_ADC_H

#include <zephyr/drivers/adc.h>
#include "main.h"

#ifdef __cplusplus
extern "C" {
#endif

#if !DT_NODE_EXISTS(DT_PATH(zephyr_user)) || \
    !DT_NODE_HAS_PROP(DT_PATH(zephyr_user), io_channels)
#error "No suitable devicetree overlay specified for ADC channels"
#endif

extern const struct adc_dt_spec adc_ain0;
extern const struct adc_dt_spec adc_ain1;
extern int32_t mV_ain0;
extern int32_t mV_ain1;

#ifndef BSP_ADC_SAMPLING_US
#define BSP_ADC_SAMPLING_US 2000U /* default 2000 us */
#endif

void bsp_adc_init(void);
void bsp_adc_read_channels(void);
int bsp_adc_read_mV(const struct adc_dt_spec *adc, int32_t *raw);

#ifdef __cplusplus
}
#endif

#endif /* BSP_ADC_H */
```

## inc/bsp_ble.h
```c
#ifndef BSP_BLE_H
#define BSP_BLE_H

#include "main.h"
#include <stdint.h>
#include <errno.h>

#ifdef __cplusplus
extern "C" {
#endif

#if defined(CONFIG_BT) && (CONFIG_BT == 1)

int bsp_ble_init(void);
void ble_uart_rx_cb(uint8_t *byte, size_t len);
void ble_nus_send(const uint8_t *data, uint16_t len);

#else /* CONFIG_BT */

/* BLE 未启用时提供 stub，方便同一套代码按配置裁剪。 */
static inline int bsp_ble_init(void)
{
	return -ENOTSUP;
}

static inline void ble_uart_rx_cb(uint8_t *byte, size_t len)
{
	(void)byte;
	(void)len;
}

static inline void ble_nus_send(const uint8_t *data, uint16_t len)
{
    (void)data;
    (void)len;
}

#endif /* CONFIG_BT */

#ifdef __cplusplus
}
#endif

#endif /* BSP_BLE_H */
```

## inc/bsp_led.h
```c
#ifndef __BSP_LED_H
#define __BSP_LED_H

#ifdef __cplusplus
extern "C" {
#endif

#include "main.h"

#define LED0_NODE DT_ALIAS(led0)

void bsp_led_init(void);
void bsp_led_toggle(void);
void bsp_led_on(void);
void bsp_led_off(void);

#ifdef __cplusplus
}
#endif

#endif
```

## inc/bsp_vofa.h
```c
#ifndef VOFA_H
#define VOFA_H

#ifdef __cplusplus
extern "C" {
#endif

#include <stdint.h>

#define VOFA_TAIL_SIZE 4
#define VOFA_MAX_CH    64

extern uint8_t vofa_buf[VOFA_MAX_CH * sizeof(float) + VOFA_TAIL_SIZE];
extern float *ptr_vofa_buf;

void SendToVOFA(uint8_t num_floats);


#ifdef __cplusplus
}
#endif

#endif // VOFA_H
```
